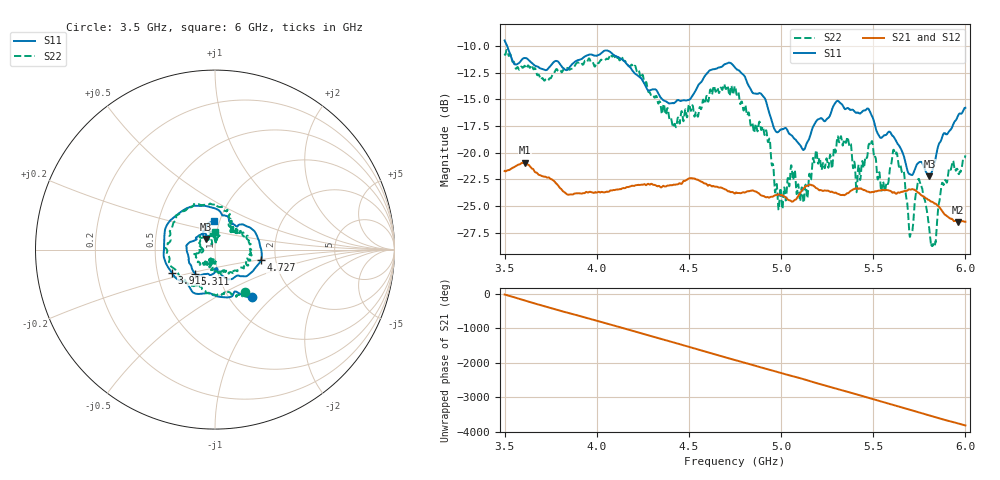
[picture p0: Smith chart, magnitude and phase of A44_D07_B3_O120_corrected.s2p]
! Created with skrf 1.9.0 (http://scikit-rf.org).
# Hz S RI R 50.0
!freq ReS11 ImS11 ReS21 ImS21 ReS12 ImS12 ReS22 ImS22
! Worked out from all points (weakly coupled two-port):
!   1601 points, 3.5 GHz to 6 GHz, reference 50 ohm
!   highest |S21| = -20.94 dB at 3.609 GHz (marker M1); lowest = -26.5 dB at 5.959 GHz (marker M2)
!   lowest |S11| = -22.2 dB at 5.805 GHz (marker M3), VSWR 1.17, Z = 45 + j5.43 ohm
!   |S11| at or under -10 dB: 3.514 GHz to end of sweep
!   |S22| runs from -28.7 to -10.4 dB; largest |S21 - S12| = 0.00095
!   S11 on the Smith chart (normalised r, x): 3.5 GHz: 1.26, -0.75; 3.913 GHz: 0.59, -0.16; 4.727 GHz: 1.67, -0.21; 5.311 GHz: 0.77, -0.21; 6 GHz: 0.93, +0.31
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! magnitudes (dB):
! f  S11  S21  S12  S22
! 3.5 GHz  -9.5  -21.7  -21.7  -10.7
! 3.609 GHz  -11.1  -20.9  -20.9  -11.9
! 3.913 GHz  -11.3  -23.8  -23.8  -11.5
! 3.917 GHz  -11.2  -23.8  -23.8  -11.6
! 4.142 GHz  -11.3  -23.3  -23.3  -11.3
! 4.334 GHz  -14.5  -23.1  -23.1  -15.4
! 4.422 GHz  -15.3  -23.0  -23.0  -17.3
! 4.727 GHz  -11.6  -23.7  -23.6  -13.9
! 4.75 GHz  -12.0  -23.8  -23.7  -13.8
! 4.928 GHz  -15.8  -24.2  -24.1  -19.0
! 4.995 GHz  -17.9  -23.9  -23.9  -23.4
! 5.167 GHz  -17.8  -23.1  -23.0  -21.5
! 5.311 GHz  -15.2  -23.9  -23.8  -18.7
! 5.417 GHz  -16.2  -23.4  -23.4  -21.6
! 5.486 GHz  -16.3  -23.7  -23.7  -19.3
! 5.584 GHz  -18.0  -23.5  -23.5  -22.5
! 5.622 GHz  -18.8  -23.8  -23.8  -20.2
! 5.705 GHz  -22.1  -23.5  -23.4  -27.6
! 5.753 GHz  -20.9  -23.9  -23.8  -22.8
! 5.805 GHz  -22.2  -24.5  -24.4  -27.2
! 5.959 GHz  -16.6  -26.5  -26.4  -21.8
! 6 GHz  -15.8  -26.5  -26.4  -20.3
